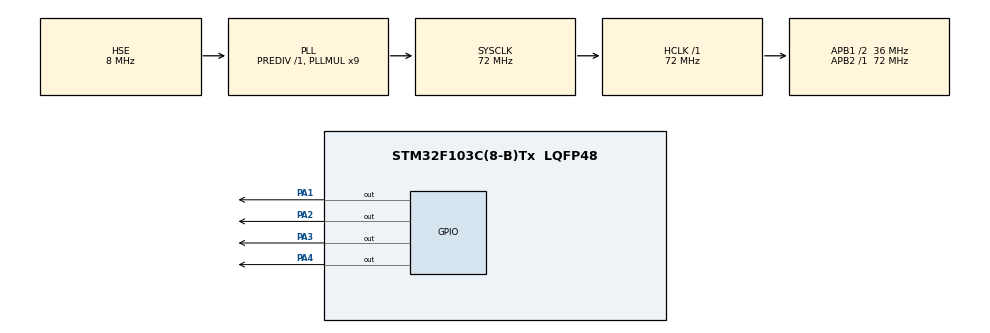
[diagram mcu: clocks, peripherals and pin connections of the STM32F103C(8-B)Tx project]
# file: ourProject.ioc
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Mcu.Family=STM32F1
Mcu.Name=STM32F103C(8-B)Tx
Mcu.Package=LQFP48
NVIC.PriorityGroup=NVIC_PRIORITYGROUP_4
PA1.Signal=GPIO_Output
PA13.Mode=Serial_Wire
PA13.Signal=SYS_JTMS-SWDIO
PA14.Mode=Serial_Wire
PA14.Signal=SYS_JTCK-SWCLK
PA2.Signal=GPIO_Output
PA3.Signal=GPIO_Output
PA4.Signal=GPIO_Output
PD0-OSC_IN.Mode=HSE-External-Oscillator
PD0-OSC_IN.Signal=RCC_OSC_IN
PD1-OSC_OUT.Mode=HSE-External-Oscillator
PD1-OSC_OUT.Signal=RCC_OSC_OUT
ProjectManager.HeapSize=0x200
ProjectManager.StackSize=0x400
ProjectManager.TargetToolchain=MDK-ARM V5.32
RCC.AHBFreq_Value=72000000
RCC.APB1CLKDivider=RCC_HCLK_DIV2
RCC.APB1Freq_Value=36000000
RCC.APB1TimFreq_Value=72000000
RCC.APB2Freq_Value=72000000
RCC.APB2TimFreq_Value=72000000
RCC.HCLKFreq_Value=72000000
RCC.PLLMUL=RCC_PLL_MUL9
RCC.PLLSourceVirtual=RCC_PLLSOURCE_HSE
RCC.SYSCLKFreq_VALUE=72000000
RCC.SYSCLKSource=RCC_SYSCLKSOURCE_PLLCLK
RCC.USBFreq_Value=72000000
VP_TIM1_VS_ClockSourceINT.Mode=Internal
board=custom

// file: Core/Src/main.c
/* USER CODE BEGIN Header */
/**
  ******************************************************************************
  * @file           : main.c
  * @brief          : Main program body
  ******************************************************************************
  * @attention
  *
  * Copyright (c) 2025 STMicroelectronics.
  * All rights reserved.
  *
  * This software is licensed under terms that can be found in the LICENSE file
  * in the root directory of this software component.
  * If no LICENSE file comes with this software, it is provided AS-IS.
  *
  ******************************************************************************
  */
/* USER CODE END Header */
#include "main.h"

TIM_HandleTypeDef htim1;

/* USER CODE BEGIN PV */
uint16_t pwm_value = 0;
int8_t step = 0;
/* USER CODE END PV */

void SystemClock_Config(void);
static void MX_GPIO_Init(void);
static void MX_TIM1_Init(void);

/* USER CODE BEGIN 0 */
#define stepsperrev 4075.772
void delay(uint16_t us)
{
	__HAL_TIM_SET_COUNTER(&htim1, 0);
	while(__HAL_TIM_GET_COUNTER(&htim1) < us);
}

void stepper_set_rpm(int rpm)
{
	delay(60000000 / stepsperrev);
}

void stepper_half_drive(int step)
{
	switch(step)
	{
		case 0:
		{
			HAL_GPIO_WritePin(GPIOA, GPIO_PIN_1, GPIO_PIN_SET);
			HAL_GPIO_WritePin(GPIOA, GPIO_PIN_2, GPIO_PIN_RESET);
			HAL_GPIO_WritePin(GPIOA, GPIO_PIN_3, GPIO_PIN_RESET);
			HAL_GPIO_WritePin(GPIOA, GPIO_PIN_4, GPIO_PIN_RESET);
			break;
		}
		case 1:
		{
			HAL_GPIO_WritePin(GPIOA, GPIO_PIN_1, GPIO_PIN_SET);
			HAL_GPIO_WritePin(GPIOA, GPIO_PIN_2, GPIO_PIN_SET);
			HAL_GPIO_WritePin(GPIOA, GPIO_PIN_3, GPIO_PIN_RESET);
			HAL_GPIO_WritePin(GPIOA, GPIO_PIN_4, GPIO_PIN_RESET);
			break;
		}
		case 2:
		{
			HAL_GPIO_WritePin(GPIOA, GPIO_PIN_1, GPIO_PIN_RESET);
			HAL_GPIO_WritePin(GPIOA, GPIO_PIN_2, GPIO_PIN_SET);
			HAL_GPIO_WritePin(GPIOA, GPIO_PIN_3, GPIO_PIN_RESET);
			HAL_GPIO_WritePin(GPIOA, GPIO_PIN_4, GPIO_PIN_RESET);
			break;
		}
		case 3:
		{
			HAL_GPIO_WritePin(GPIOA, GPIO_PIN_1, GPIO_PIN_RESET);
			HAL_GPIO_WritePin(GPIOA, GPIO_PIN_2, GPIO_PIN_SET);
			HAL_GPIO_WritePin(GPIOA, GPIO_PIN_3, GPIO_PIN_SET);
			HAL_GPIO_WritePin(GPIOA, GPIO_PIN_4, GPIO_PIN_RESET);
			break;
		}
		case 4:
		{
			HAL_GPIO_WritePin(GPIOA, GPIO_PIN_1, GPIO_PIN_RESET);
			HAL_GPIO_WritePin(GPIOA, GPIO_PIN_2, GPIO_PIN_RESET);
			HAL_GPIO_WritePin(GPIOA, GPIO_PIN_3, GPIO_PIN_SET);
			HAL_GPIO_WritePin(GPIOA, GPIO_PIN_4, GPIO_PIN_RESET);
			break;
		}
		case 5:
		{
			HAL_GPIO_WritePin(GPIOA, GPIO_PIN_1, GPIO_PIN_RESET);
			HAL_GPIO_WritePin(GPIOA, GPIO_PIN_2, GPIO_PIN_RESET);
			HAL_GPIO_WritePin(GPIOA, GPIO_PIN_3, GPIO_PIN_SET);
			HAL_GPIO_WritePin(GPIOA, GPIO_PIN_4, GPIO_PIN_SET);
			break;
		}
		case 6:
		{
			HAL_GPIO_WritePin(GPIOA, GPIO_PIN_1, GPIO_PIN_RESET);
			HAL_GPIO_WritePin(GPIOA, GPIO_PIN_2, GPIO_PIN_RESET);
			HAL_GPIO_WritePin(GPIOA, GPIO_PIN_3, GPIO_PIN_RESET);
			HAL_GPIO_WritePin(GPIOA, GPIO_PIN_4, GPIO_PIN_SET);
			break;
		}
		case 7:
		{
			HAL_GPIO_WritePin(GPIOA, GPIO_PIN_1, GPIO_PIN_SET);
			HAL_GPIO_WritePin(GPIOA, GPIO_PIN_2, GPIO_PIN_RESET);
			HAL_GPIO_WritePin(GPIOA, GPIO_PIN_3, GPIO_PIN_RESET);
			HAL_GPIO_WritePin(GPIOA, GPIO_PIN_4, GPIO_PIN_SET);
			break;
		}
	}
}

void stepper_step_angle(float angle, int direction, int rpm)
{
	float anglePerSequence = 0.703125;
	int numberOfSequence = (int)(angle / anglePerSequence);
	for(int seq = 0; seq < numberOfSequence; seq++)
	{
		if(direction == 0)
		{
			for(int step = 7; step > 0; step--)
			{
				stepper_half_drive(step);
				stepper_set_rpm(rpm);
			}
		}
	}
}
/* USER CODE END 0 */

int main(void)
{

  /* MCU Configuration--------------------------------------------------------*/

  /* Reset of all peripherals, Initializes the Flash interface and the Systick. */
  HAL_Init();

  /* Configure the system clock */
  SystemClock_Config();

  /* Initialize all configured peripherals */
  MX_GPIO_Init();
  MX_TIM1_Init();
  /* USER CODE BEGIN 2 */
	HAL_TIM_Base_Start(&htim1);
  /* USER CODE END 2 */

  /* Infinite loop */
  while (1)
  {

    /* USER CODE BEGIN 3 */
		//stepper_step_angle(11.25, 1, 12);
		//HAL_Delay(1000);

//		HAL_GPIO_WritePin(GPIOA, GPIO_PIN_1, GPIO_PIN_SET);
//		HAL_GPIO_WritePin(GPIOA, GPIO_PIN_2, GPIO_PIN_RESET);
//		HAL_GPIO_WritePin(GPIOA, GPIO_PIN_3, GPIO_PIN_RESET);
//		HAL_GPIO_WritePin(GPIOA, GPIO_PIN_4, GPIO_PIN_RESET);
//		HAL_Delay(100);

		HAL_GPIO_WritePin(GPIOA, GPIO_PIN_1, GPIO_PIN_SET);
		HAL_GPIO_WritePin(GPIOA, GPIO_PIN_2, GPIO_PIN_SET);
		HAL_GPIO_WritePin(GPIOA, GPIO_PIN_3, GPIO_PIN_RESET);
		HAL_GPIO_WritePin(GPIOA, GPIO_PIN_4, GPIO_PIN_RESET);
		HAL_Delay(100);

//		HAL_GPIO_WritePin(GPIOA, GPIO_PIN_1, GPIO_PIN_RESET);
//		HAL_GPIO_WritePin(GPIOA, GPIO_PIN_2, GPIO_PIN_SET);
//		HAL_GPIO_WritePin(GPIOA, GPIO_PIN_3, GPIO_PIN_RESET);
//		HAL_GPIO_WritePin(GPIOA, GPIO_PIN_4, GPIO_PIN_RESET);
//		HAL_Delay(100);

		HAL_GPIO_WritePin(GPIOA, GPIO_PIN_1, GPIO_PIN_RESET);
		HAL_GPIO_WritePin(GPIOA, GPIO_PIN_2, GPIO_PIN_SET);
		HAL_GPIO_WritePin(GPIOA, GPIO_PIN_3, GPIO_PIN_SET);
		HAL_GPIO_WritePin(GPIOA, GPIO_PIN_4, GPIO_PIN_RESET);
		HAL_Delay(100);

//		HAL_GPIO_WritePin(GPIOA, GPIO_PIN_1, GPIO_PIN_RESET);
//		HAL_GPIO_WritePin(GPIOA, GPIO_PIN_2, GPIO_PIN_RESET);
//		HAL_GPIO_WritePin(GPIOA, GPIO_PIN_3, GPIO_PIN_SET);
//		HAL_GPIO_WritePin(GPIOA, GPIO_PIN_4, GPIO_PIN_RESET);
//		HAL_Delay(100);

		HAL_GPIO_WritePin(GPIOA, GPIO_PIN_1, GPIO_PIN_RESET);
		HAL_GPIO_WritePin(GPIOA, GPIO_PIN_2, GPIO_PIN_RESET);
		HAL_GPIO_WritePin(GPIOA, GPIO_PIN_3, GPIO_PIN_SET);
		HAL_GPIO_WritePin(GPIOA, GPIO_PIN_4, GPIO_PIN_SET);
		HAL_Delay(100);

//		HAL_GPIO_WritePin(GPIOA, GPIO_PIN_1, GPIO_PIN_RESET);
//		HAL_GPIO_WritePin(GPIOA, GPIO_PIN_2, GPIO_PIN_RESET);
//		HAL_GPIO_WritePin(GPIOA, GPIO_PIN_3, GPIO_PIN_RESET);
//		HAL_GPIO_WritePin(GPIOA, GPIO_PIN_4, GPIO_PIN_SET);
//		HAL_Delay(100);

//		HAL_GPIO_WritePin(GPIOA, GPIO_PIN_1, GPIO_PIN_SET);
//		HAL_GPIO_WritePin(GPIOA, GPIO_PIN_2, GPIO_PIN_RESET);
//		HAL_GPIO_WritePin(GPIOA, GPIO_PIN_3, GPIO_PIN_RESET);
//		HAL_GPIO_WritePin(GPIOA, GPIO_PIN_4, GPIO_PIN_SET);
//		HAL_Delay(100);
  }
  /* USER CODE END 3 */
}

void SystemClock_Config(void)
{
  RCC_OscInitTypeDef RCC_OscInitStruct = {0};
  RCC_ClkInitTypeDef RCC_ClkInitStruct = {0};

  /** Initializes the RCC Oscillators according to the specified parameters
  * in the RCC_OscInitTypeDef structure.
  */
  RCC_OscInitStruct.OscillatorType = RCC_OSCILLATORTYPE_HSE;
  RCC_OscInitStruct.HSEState = RCC_HSE_ON;
  RCC_OscInitStruct.HSEPredivValue = RCC_HSE_PREDIV_DIV1;
  RCC_OscInitStruct.HSIState = RCC_HSI_ON;
  RCC_OscInitStruct.PLL.PLLState = RCC_PLL_ON;
  RCC_OscInitStruct.PLL.PLLSource = RCC_PLLSOURCE_HSE;
  RCC_OscInitStruct.PLL.PLLMUL = RCC_PLL_MUL9;
  if (HAL_RCC_OscConfig(&RCC_OscInitStruct) != HAL_OK)
  {
    Error_Handler();
  }

  /** Initializes the CPU, AHB and APB buses clocks
  */
  RCC_ClkInitStruct.ClockType = RCC_CLOCKTYPE_HCLK|RCC_CLOCKTYPE_SYSCLK
                              |RCC_CLOCKTYPE_PCLK1|RCC_CLOCKTYPE_PCLK2;
  RCC_ClkInitStruct.SYSCLKSource = RCC_SYSCLKSOURCE_PLLCLK;
  RCC_ClkInitStruct.AHBCLKDivider = RCC_SYSCLK_DIV1;
  RCC_ClkInitStruct.APB1CLKDivider = RCC_HCLK_DIV2;
  RCC_ClkInitStruct.APB2CLKDivider = RCC_HCLK_DIV1;

  if (HAL_RCC_ClockConfig(&RCC_ClkInitStruct, FLASH_LATENCY_2) != HAL_OK)
  {
    Error_Handler();
  }
}

static void MX_TIM1_Init(void)
{

  TIM_ClockConfigTypeDef sClockSourceConfig = {0};
  TIM_MasterConfigTypeDef sMasterConfig = {0};

  htim1.Instance = TIM1;
  htim1.Init.Prescaler = 0;
  htim1.Init.CounterMode = TIM_COUNTERMODE_UP;
  htim1.Init.Period = 65535;
  htim1.Init.ClockDivision = TIM_CLOCKDIVISION_DIV1;
  htim1.Init.RepetitionCounter = 0;
  htim1.Init.AutoReloadPreload = TIM_AUTORELOAD_PRELOAD_DISABLE;
  if (HAL_TIM_Base_Init(&htim1) != HAL_OK)
  {
    Error_Handler();
  }
  sClockSourceConfig.ClockSource = TIM_CLOCKSOURCE_INTERNAL;
  if (HAL_TIM_ConfigClockSource(&htim1, &sClockSourceConfig) != HAL_OK)
  {
    Error_Handler();
  }
  sMasterConfig.MasterOutputTrigger = TIM_TRGO_RESET;
  sMasterConfig.MasterSlaveMode = TIM_MASTERSLAVEMODE_DISABLE;
  if (HAL_TIMEx_MasterConfigSynchronization(&htim1, &sMasterConfig) != HAL_OK)
  {
    Error_Handler();
  }

}

static void MX_GPIO_Init(void)
{
  GPIO_InitTypeDef GPIO_InitStruct = {0};

  /* GPIO Ports Clock Enable */
  __HAL_RCC_GPIOD_CLK_ENABLE();
  __HAL_RCC_GPIOA_CLK_ENABLE();

  /*Configure GPIO pin Output Level */
  HAL_GPIO_WritePin(GPIOA, GPIO_PIN_1|GPIO_PIN_2|GPIO_PIN_3|GPIO_PIN_4, GPIO_PIN_RESET);

  /*Configure GPIO pins : PA1 PA2 PA3 PA4 */
  GPIO_InitStruct.Pin = GPIO_PIN_1|GPIO_PIN_2|GPIO_PIN_3|GPIO_PIN_4;
  GPIO_InitStruct.Mode = GPIO_MODE_OUTPUT_PP;
  GPIO_InitStruct.Pull = GPIO_NOPULL;
  GPIO_InitStruct.Speed = GPIO_SPEED_FREQ_LOW;
  HAL_GPIO_Init(GPIOA, &GPIO_InitStruct);

}

void Error_Handler(void)
{
  __disable_irq();
  while (1)
  {
  }
}
